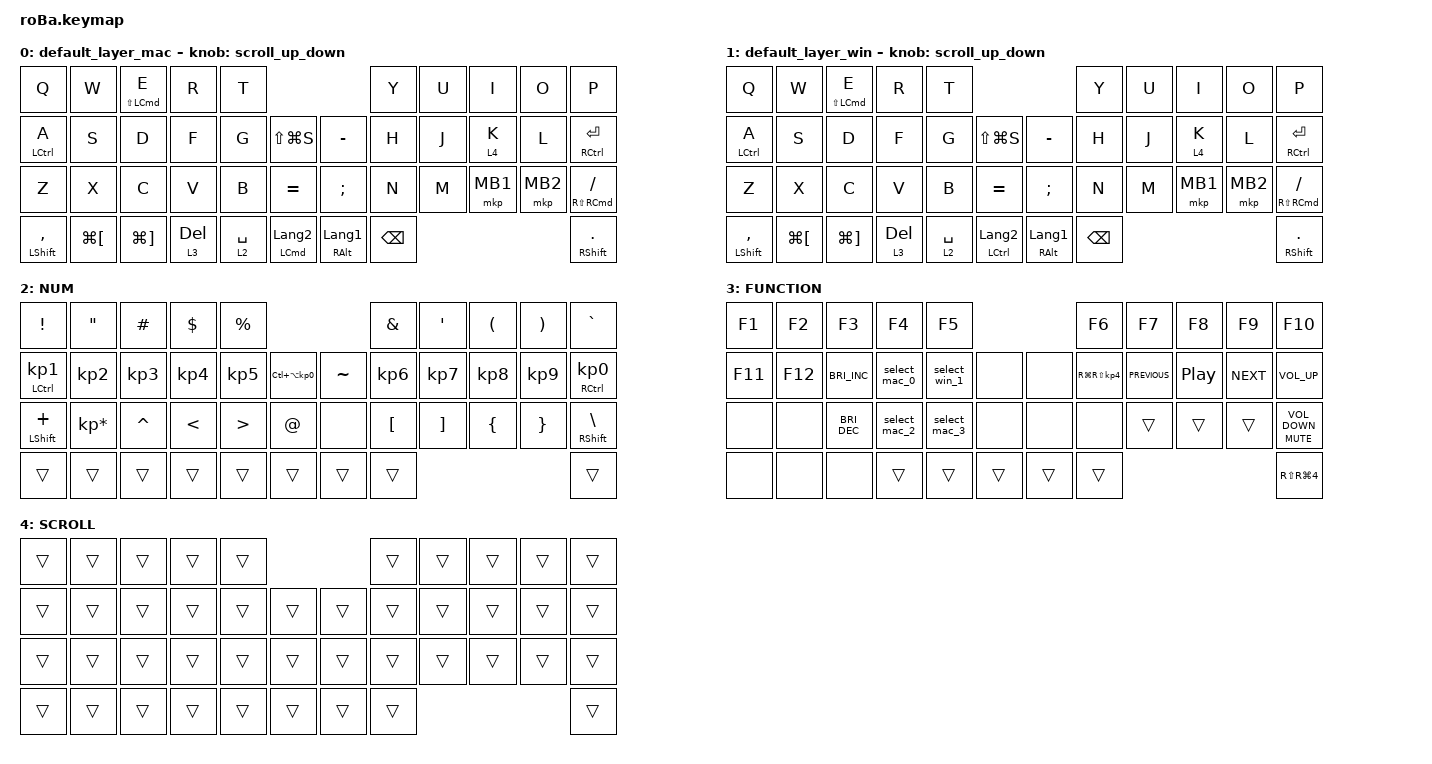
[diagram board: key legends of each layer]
// スクロール量を変更

#define ZMK_MOUSE_POINTING_SCRL_VAL 100

#include <dt-bindings/zmk/input_transform.h>
#include <behaviors.dtsi>
#include <dt-bindings/zmk/bt.h>
#include <dt-bindings/zmk/keys.h>
#include <dt-bindings/zmk/pointing.h>

&mt {
    flavor = "balanced";
    quick-tap-ms = <0>;
};

&trackball {
    scroll-layers = <4>;

    // arrows {
    //     layers = <3>;
    //     bindings =
    //         <&kp RIGHT_ARROW>,
    //         <&kp LEFT_ARROW>,
    //         <&kp UP_ARROW>,
    //         <&kp DOWN_ARROW>;
    //     tick = <10>;
    //     wait-ms = <5>;
    //     tap-ms = <5>;
    // };
};

/ {
    combos {
        compatible = "zmk,combos";

        tab {
            bindings = <&kp TAB>;
            key-positions = <11 10>;
        };

        shift_tab {
            bindings = <&kp LS(TAB)>;
            key-positions = <12 11>;
        };

        right_allow {
            bindings = <&kp RIGHT_ARROW>;
            key-positions = <21 20>;
        };

        left_allow {
            bindings = <&kp LEFT_ARROW>;
            key-positions = <19 20>;
        };

        up_allow {
            bindings = <&kp UP_ARROW>;
            key-positions = <8 7>;
        };

        down_allow {
            bindings = <&kp DOWN_ARROW>;
            key-positions = <19 20>;
        };

        pi {
            bindings = <&kp PIPE>;
            key-positions = <8 9>;
        };

        underscore {
            bindings = <&kp UNDERSCORE>;
            key-positions = <33 32>;
        };

        escape {
            bindings = <&kp ESCAPE>;
            key-positions = <0 1>;
        };

        to_mac {
            bindings = <&to 0>;
            key-positions = <13 10 11 12>;
        };

        to_win {
            bindings = <&to 1>;
            key-positions = <18 19 20 21>;
        };

        mb3 {
            bindings = <&mkp MB3>;
            key-positions = <31 32>;
        };
    };

    macros {
        to_layer_0: to_layer_0 {
            compatible = "zmk,behavior-macro-one-param";
            #binding-cells = <1>;
            bindings = <&to 0 &macro_param_1to1 &kp MACRO_PLACEHOLDER>;
            label = "TO_LAYER_0";
        };

        // 🍎 Mac：Bluetoothプロファイル + Macレイヤー

        select_mac_0: select_mac_0 {
            compatible = "zmk,behavior-macro";
            #binding-cells = <0>;
            bindings = <&bt BT_SEL 0 &to 0>;
        };

        // 🪟 Windows：Bluetooth 2番 + Windowsレイヤー

        select_win_1: select_win_1 {
            compatible = "zmk,behavior-macro";
            #binding-cells = <0>;
            bindings = <&bt BT_SEL 1 &to 1>;
        };

        select_mac_2: select_mac_2 {
            compatible = "zmk,behavior-macro";
            #binding-cells = <0>;
            bindings = <&bt BT_SEL 2 &to 0>;
        };

        select_mac_3: select_mac_3 {
            compatible = "zmk,behavior-macro";
            #binding-cells = <0>;
            bindings = <&bt BT_SEL 3 &to 0>;
        };
    };

    behaviors {
        lt_to_layer_0: lt_to_layer_0 {
            compatible = "zmk,behavior-hold-tap";
            label = "LAYER_TAP_TO_0";
            bindings = <&mo>, <&to_layer_0>;

            #binding-cells = <2>;
            tapping-term-ms = <200>;
        };

        // 新しいスクロール動作の追加

        scroll_up_down: behavior_sensor_rotate_mouse_wheel_up_down {
            compatible = "zmk,behavior-sensor-rotate";
            #sensor-binding-cells = <0>;
            bindings = <&msc SCRL_UP>, <&msc SCRL_DOWN>;

            // 追加: スクロールのタップ時間を設定 (20ms)

            tap-ms = <20>;
        };
    };

    keymap {
        compatible = "zmk,keymap";

        default_layer_mac {
            bindings = <
&kp Q                 &kp W                 &mt LS(LEFT_COMMAND) E  &kp R         &kp T                                                                   &kp Y          &kp U  &kp I     &kp O     &kp P
&mt LEFT_CONTROL A    &kp S                 &kp D                   &kp F         &kp G        &kp LS(LG(S))                    &kp MINUS                 &kp H          &kp J  &lt 4 K   &kp L     &mt RIGHT_CONTROL RETURN
&kp Z                 &kp X                 &kp C                   &kp V         &kp B        &kp EQUAL                        &kp SEMICOLON             &kp N          &kp M  &mkp MB1  &mkp MB2  &mt RS(RIGHT_COMMAND) SLASH
&mt LEFT_SHIFT COMMA  &kp LG(LEFT_BRACKET)  &kp LG(RIGHT_BRACKET)   &lt 3 DELETE  &lt 2 SPACE  &mt LEFT_COMMAND LANGUAGE_2      &mt RIGHT_ALT LANGUAGE_1  &kp BACKSPACE                             &mt RIGHT_SHIFT PERIOD
            >;

            sensor-bindings = <&scroll_up_down>;
        };

        default_layer_win {
            bindings = <
&kp Q                 &kp W                 &mt LS(LEFT_COMMAND) E  &kp R         &kp T                                                                   &kp Y          &kp U  &kp I     &kp O     &kp P
&mt LEFT_CONTROL A    &kp S                 &kp D                   &kp F         &kp G        &kp LS(LG(S))                    &kp MINUS                 &kp H          &kp J  &lt 4 K   &kp L     &mt RIGHT_CONTROL RETURN
&kp Z                 &kp X                 &kp C                   &kp V         &kp B        &kp EQUAL                        &kp SEMICOLON             &kp N          &kp M  &mkp MB1  &mkp MB2  &mt RS(RIGHT_COMMAND) SLASH
&mt LEFT_SHIFT COMMA  &kp LG(LEFT_BRACKET)  &kp LG(RIGHT_BRACKET)   &lt 3 DELETE  &lt 2 SPACE  &mt LEFT_CONTROL LANGUAGE_2      &mt RIGHT_ALT LANGUAGE_1  &kp BACKSPACE                             &mt RIGHT_SHIFT PERIOD
            >;

            sensor-bindings = <&scroll_up_down>;
        };

        NUM {
            bindings = <
&kp EXCLAMATION               &kp DOUBLE_QUOTES  &kp HASH         &kp DOLLAR       &kp PERCENT                                               &kp AMPERSAND     &kp SINGLE_QUOTE   &kp LEFT_PARENTHESIS  &kp RIGHT_PARENTHESIS  &kp GRAVE
&mt LEFT_CONTROL KP_NUMBER_1  &kp KP_N2          &kp KP_NUMBER_3  &kp KP_NUMBER_4  &kp KP_NUMBER_5   &kp LC(LA(KP_NUMBER_0))      &kp TILDE  &kp KP_NUMBER_6   &kp KP_NUMBER_7    &kp KP_NUMBER_8       &kp KP_NUMBER_9        &mt RIGHT_CONTROL KP_NUMBER_0
&mt LEFT_SHIFT PLUS           &kp KP_ASTERISK    &kp CARET        &kp LESS_THAN    &kp GREATER_THAN  &kp AT_SIGN                  &none      &kp LEFT_BRACKET  &kp RIGHT_BRACKET  &kp LEFT_BRACE        &kp RIGHT_BRACE        &mt RIGHT_SHIFT BACKSLASH
&trans                        &trans             &trans           &trans           &trans            &trans                       &trans     &trans                                                                            &trans
            >;
        };

        FUNCTION {
            bindings = <
&kp F1   &kp F2   &kp F3                &kp F4         &kp F5                             &kp F6                   &kp F7          &kp F8            &kp F9      &kp F10
&kp F11  &kp F12  &kp C_BRIGHTNESS_INC  &select_mac_0  &select_win_1  &none       &none   &kp RG(RS(KP_NUMBER_4))  &kp C_PREVIOUS  &kp C_PLAY_PAUSE  &kp C_NEXT  &kp C_VOL_UP
&none    &none    &kp C_BRIGHTNESS_DEC  &select_mac_2  &select_mac_3  &none       &none   &none                    &trans          &trans            &trans      &mt C_MUTE C_VOLUME_DOWN
&none    &none    &none                 &trans         &trans         &trans      &trans  &trans                                                                 &kp RS(RG(N4))
            >;
        };

        SCROLL {
            bindings = <
&trans  &trans  &trans  &trans  &trans                      &trans  &trans  &trans  &trans  &trans
&trans  &trans  &trans  &trans  &trans  &trans      &trans  &trans  &trans  &trans  &trans  &trans
&trans  &trans  &trans  &trans  &trans  &trans      &trans  &trans  &trans  &trans  &trans  &trans
&trans  &trans  &trans  &trans  &trans  &trans      &trans  &trans                          &trans
            >;
        };
    };
};
